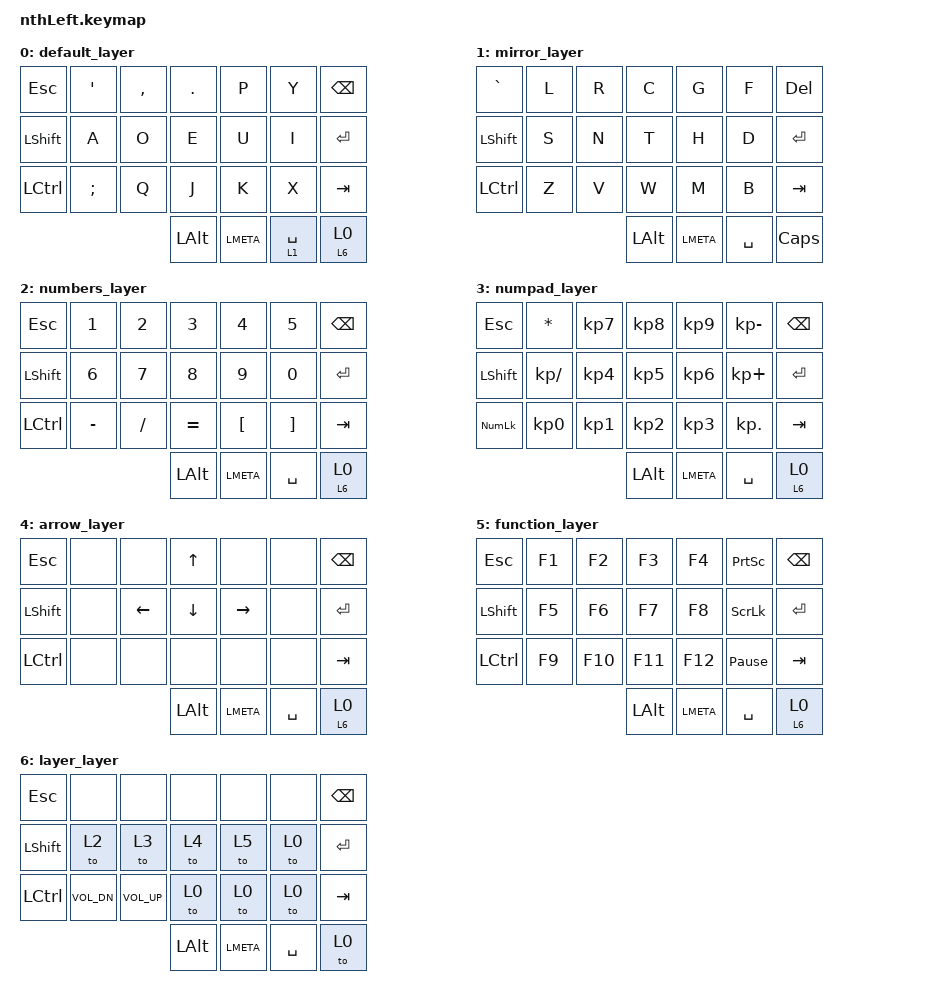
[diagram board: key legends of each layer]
/*
 * Copyright (c) 2021 The ZMK Contributors
 *
 * SPDX-License-Identifier: MIT
 */

#include <behaviors.dtsi>
#include <dt-bindings/zmk/keys.h>
#include <dt-bindings/zmk/bt.h>
#include <dt-bindings/zmk/rgb.h>
#include <dt-bindings/zmk/outputs.h>

#define MO_TO(layer) &mo_to layer layer

/ {
    behaviors {
        mo_to: behavior_mo_to {
            compatible = "zmk,behavior-hold-tap";
            #binding-cells = <2>;
            flavor = "hold-preferred";
            tapping-term-ms = <200>;
            bindings = <&mo>, <&to>;
        };
    };

        keymap {
                compatible = "zmk,keymap";

                default_layer {

                        bindings = <
   &kp ESC         &kp SQT      &kp COMMA    &kp PERIOD   &kp P        &kp Y        &kp BSPC
   &kp LSHFT       &kp A        &kp O        &kp E        &kp U        &kp I        &kp RET
   &kp LCTRL       &kp SEMI     &kp Q        &kp J        &kp K        &kp X        &kp TAB
                                             &kp LALT     &kp LMETA    &lt 1 SPACE  &mo_to 6 0
                                >;
                        };

                mirror_layer {

                        bindings = <
   &kp GRAVE       &kp L        &kp R        &kp C        &kp G        &kp F        &kp DEL
   &kp LSHFT       &kp S        &kp N        &kp T        &kp H        &kp D        &kp RET
   &kp LCTRL       &kp Z        &kp V        &kp W        &kp M        &kp B        &kp TAB
                                             &kp LALT     &kp LMETA    &kp SPACE    &kp CAPS
                                >;
                        };

                numbers_layer {

                        bindings = <
   &kp ESC         &kp N1       &kp N2       &kp N3       &kp N4       &kp N5       &kp BSPC
   &kp LSHFT       &kp N6       &kp N7       &kp N8       &kp N9       &kp N0       &kp RET
   &kp LCTRL       &kp MINUS    &kp FSLH     &kp EQUAL    &kp LBKT     &kp RBKT     &kp TAB
                                             &kp LALT     &kp LMETA    &kp SPACE    &mo_to 6 0
                                >;
                        };

                numpad_layer {

                        bindings = <
   &kp ESC         &kp STAR     &kp KP_N7    &kp KP_N8    &kp KP_N9    &kp KP_MINUS &kp BSPC
   &kp LSHFT       &kp KP_SLASH &kp KP_N4    &kp KP_N5    &kp KP_N6    &kp KP_PLUS  &kp RET
   &kp KP_NUM      &kp KP_N0    &kp KP_N1    &kp KP_N2    &kp KP_N3    &kp KP_DOT   &kp TAB
                                             &kp LALT     &kp LMETA    &kp SPACE    &mo_to 6 0
                                >;
                        };


                arrow_layer {

                        bindings = <
   &kp ESC         &none        &none        &kp UP       &none        &none        &kp BSPC
   &kp LSHFT       &none        &kp LEFT     &kp DOWN     &kp RIGHT    &none        &kp RET
   &kp LCTRL       &none        &none        &none        &none        &none        &kp TAB
                                             &kp LALT     &kp LMETA    &kp SPACE    &mo_to 6 0
                                >;
                        };

                 function_layer {

                        bindings = <
   &kp ESC         &kp F1       &kp F2       &kp F3       &kp F4       &kp PSCRN        &kp BSPC
   &kp LSHFT       &kp F5       &kp F6       &kp F7       &kp F8       &kp SLCK         &kp RET
   &kp LCTRL       &kp F9       &kp F10      &kp F11      &kp F12      &kp PAUSE_BREAK  &kp TAB
                                             &kp LALT     &kp LMETA    &kp SPACE        &mo_to 6 0
                                >;
                        };

                 layer_layer {

                        bindings = <
   &kp ESC         &none        &none        &none        &none        &none        &kp BSPC
   &kp LSHFT       &to 2        &to 3        &to 4        &to 5        &to 0        &kp RET
   &kp LCTRL       &kp K_VOL_DN &kp K_VOL_UP &to 0        &to 0        &to 0        &kp TAB
                                             &kp LALT     &kp LMETA    &kp SPACE    &to 0
                                >;
                        };
        };
};
